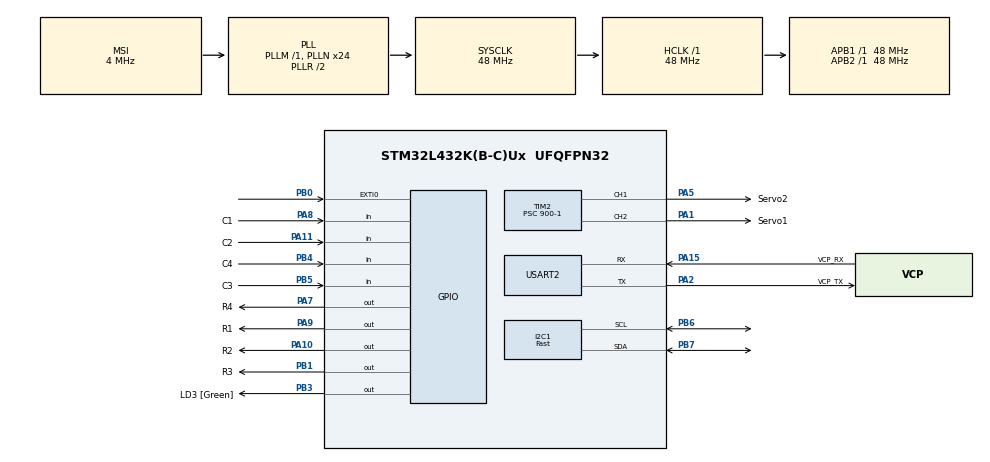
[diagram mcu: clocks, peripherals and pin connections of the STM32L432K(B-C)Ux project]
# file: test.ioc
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Dma.I2C1_RX.0.Direction=DMA_PERIPH_TO_MEMORY
Dma.I2C1_RX.0.Instance=DMA1_Channel7
Dma.I2C1_RX.0.MemDataAlignment=DMA_MDATAALIGN_BYTE
Dma.I2C1_RX.0.MemInc=DMA_MINC_ENABLE
Dma.I2C1_RX.0.Mode=DMA_NORMAL
Dma.I2C1_RX.0.PeriphDataAlignment=DMA_PDATAALIGN_BYTE
Dma.I2C1_RX.0.PeriphInc=DMA_PINC_DISABLE
Dma.I2C1_RX.0.Priority=DMA_PRIORITY_LOW
Dma.Request0=I2C1_RX
FREERTOS.Queues01=i2cQ,16,uint16_t,0,Dynamic,NULL,NULL
FREERTOS.Tasks01=defaultTask,0,128,StartDefaultTask,Default,NULL,Dynamic,NULL,NULL;keypad,-3,128,keypadTask,Default,NULL,Dynamic,NULL,NULL;i2c,-3,128,i2cTask03,Default,NULL,Dynamic,NULL,NULL
I2C1.I2C_Speed_Mode=I2C_Fast
I2C1.Timing=0x0090194B
Mcu.Family=STM32L4
Mcu.Name=STM32L432K(B-C)Ux
Mcu.Package=UFQFPN32
NVIC.DMA1_Channel7_IRQn=true\:5\:0\:false\:false\:true\:true\:false\:true\:true
NVIC.I2C1_EV_IRQn=true\:5\:0\:false\:false\:true\:true\:true\:true\:true
NVIC.PriorityGroup=NVIC_PRIORITYGROUP_4
NVIC.TIM1_UP_TIM16_IRQn=true\:15\:0\:false\:false\:true\:false\:false\:true\:true
NVIC.TimeBase=TIM1_UP_TIM16_IRQn
NVIC.TimeBaseIP=TIM1
PA0.GPIO_Label=MCO [High speed clock in]
PA0.Mode=HSE-External-Clock-Source-for-LittleOrca
PA0.Signal=RCC_CK_IN
PA1.GPIO_Label=Servo1
PA1.Signal=S_TIM2_CH2
PA10.GPIO_Label=R2
PA10.Signal=GPIO_Output
PA11.GPIO_Label=C2
PA11.GPIO_PuPd=GPIO_PULLUP
PA11.Signal=GPIO_Input
PA13\ (JTMS-SWDIO).GPIO_Label=SWDIO
PA13\ (JTMS-SWDIO).Mode=Serial_Wire
PA13\ (JTMS-SWDIO).Signal=SYS_JTMS-SWDIO
PA14\ (JTCK-SWCLK).GPIO_Label=SWCLK
PA14\ (JTCK-SWCLK).Mode=Serial_Wire
PA14\ (JTCK-SWCLK).Signal=SYS_JTCK-SWCLK
PA15\ (JTDI).GPIO_Label=VCP_RX
PA15\ (JTDI).Mode=Asynchronous
PA15\ (JTDI).Signal=USART2_RX
PA2.GPIO_Label=VCP_TX
PA2.Mode=Asynchronous
PA2.Signal=USART2_TX
PA5.GPIO_Label=Servo2
PA5.Signal=S_TIM2_CH1
PA7.GPIO_Label=R4
PA7.Signal=GPIO_Output
PA8.GPIO_Label=C1
PA8.GPIO_PuPd=GPIO_PULLUP
PA8.Signal=GPIO_Input
PA9.GPIO_Label=R1
PA9.Signal=GPIO_Output
PB0.GPIO_ModeDefaultEXTI=GPIO_MODE_IT_FALLING
PB0.Signal=GPXTI0
PB1.GPIO_Label=R3
PB1.Signal=GPIO_Output
PB3\ (JTDO-TRACESWO).GPIO_Label=LD3 [Green]
PB3\ (JTDO-TRACESWO).Signal=GPIO_Output
PB4\ (NJTRST).GPIO_Label=C4
PB4\ (NJTRST).GPIO_PuPd=GPIO_PULLUP
PB4\ (NJTRST).Signal=GPIO_Input
PB5.GPIO_Label=C3
PB5.GPIO_PuPd=GPIO_PULLUP
PB5.Signal=GPIO_Input
PB6.Mode=I2C
PB6.Signal=I2C1_SCL
PB7.Mode=I2C
PB7.Signal=I2C1_SDA
PC14-OSC32_IN\ (PC14).Mode=LSE-External-Oscillator
PC14-OSC32_IN\ (PC14).Signal=RCC_OSC32_IN
PC15-OSC32_OUT\ (PC15).Mode=LSE-External-Oscillator
PC15-OSC32_OUT\ (PC15).Signal=RCC_OSC32_OUT
ProjectManager.HeapSize=0x200
ProjectManager.StackSize=0x400
ProjectManager.TargetToolchain=STM32CubeIDE
RCC.AHBFreq_Value=48000000
RCC.APB1Freq_Value=48000000
RCC.APB1TimFreq_Value=48000000
RCC.APB2Freq_Value=48000000
RCC.APB2TimFreq_Value=48000000
RCC.CortexFreq_Value=48000000
RCC.HCLKFreq_Value=48000000
RCC.HSE_VALUE=8000000
RCC.HSI16_VALUE=16000000
RCC.HSI48_VALUE=48000000
RCC.HSI_VALUE=16000000
RCC.MSI_VALUE=4000000
RCC.PLLMUL=RCC_PLLMUL_4
RCC.PLLN=24
RCC.SYSCLKFreq_VALUE=48000000
RCC.SYSCLKSource=RCC_SYSCLKSOURCE_PLLCLK
RCC.VCOOutputFreq_Value=96000000
SH.S_TIM2_CH1.0=TIM2_CH1,PWM Generation1 CH1
SH.S_TIM2_CH2.0=TIM2_CH2,PWM Generation2 CH2
TIM2.Channel-PWM\ Generation1\ CH1=TIM_CHANNEL_1
TIM2.Channel-PWM\ Generation2\ CH2=TIM_CHANNEL_2
TIM2.Period=1000-1
TIM2.Prescaler=900-1
USART2.VirtualMode-Asynchronous=VM_ASYNC
VP_FREERTOS_VS_CMSIS_V1.Mode=CMSIS_V1
VP_SYS_VS_tim1.Mode=TIM1
VP_TIM2_VS_ClockSourceINT.Mode=Internal
board=NUCLEO-L432KC

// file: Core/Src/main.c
/* USER CODE BEGIN Header */
/**
  ******************************************************************************
  * @file           : main.c
  * @brief          : Main program body
  ******************************************************************************
  * @attention
  *
  * Copyright (c) 2025 STMicroelectronics.
  * All rights reserved.
  *
  * This software is licensed under terms that can be found in the LICENSE file
  * in the root directory of this software component.
  * If no LICENSE file comes with this software, it is provided AS-IS.
  *
  ******************************************************************************
  */
/* USER CODE END Header */
#include "main.h"
#include "cmsis_os.h"

/* USER CODE BEGIN Includes */
#include "fonts.h"
#include "ssd1306.h"
#include <stdio.h>
/* USER CODE END Includes */

I2C_HandleTypeDef hi2c1;
DMA_HandleTypeDef hdma_i2c1_rx;

TIM_HandleTypeDef htim2;

UART_HandleTypeDef huart2;

osThreadId defaultTaskHandle;
osThreadId keypadHandle;
osThreadId i2cHandle;
osMessageQId i2cQHandle;

void SystemClock_Config(void);
static void MX_GPIO_Init(void);
static void MX_DMA_Init(void);
static void MX_USART2_UART_Init(void);
static void MX_I2C1_Init(void);
static void MX_TIM2_Init(void);
void StartDefaultTask(void const * argument);
void keypadTask(void const * argument);
void i2cTask03(void const * argument);

/* USER CODE BEGIN PFP */

void servo1(int d){
	htim2.Instance->CCR2 = d;
}

void servo2(int d){
	htim2.Instance->CCR4 = d;
}

int lock_d = 25;
int unlock_d = 125;

int open_d = 25;
int close_d = 125;

int delay_open = 1000;
int delay_close = 1000;

void lock(){
	servo2(lock_d);
}

void unlock(){
	servo2(unlock_d);
}

void open(){
	unlock();
	osDelay(delay_open);
	servo1(open_d);
}

void close(){
	servo1(close_d);
	osDelay(delay_close);
	lock();
}

/* USER CODE END PFP */

/* USER CODE BEGIN 0 */
#define PUTCHAR_PROTOTYPE int __io_putchar(int ch)
PUTCHAR_PROTOTYPE
{
  /* Place your implementation of fputc here */
  /* e.g. write a character to the USART1 and Loop until the end of transmission */
  HAL_UART_Transmit(&huart2, (uint8_t *)&ch, 1, 0xFFFF);

  return ch;
}
volatile int esp32_data_ready = 0;
osMutexId i2cMutexHandle;
char password[4] = "1234";

/* USER CODE END 0 */

int main(void)
{

  /* MCU Configuration--------------------------------------------------------*/

  /* Reset of all peripherals, Initializes the Flash interface and the Systick. */
  HAL_Init();

  /* Configure the system clock */
  SystemClock_Config();

  /* Initialize all configured peripherals */
  MX_GPIO_Init();
  MX_DMA_Init();
  MX_USART2_UART_Init();
  MX_I2C1_Init();
  MX_TIM2_Init();
  /* USER CODE BEGIN 2 */

  printf("Hello \n");

  SSD1306_Init (); // initialise the display
  SSD1306_GotoXY (10,10); // goto 10, 10
  SSD1306_Puts ("HELLO", &Font_11x18, 1); // print Hello
  SSD1306_GotoXY (10, 30);
  SSD1306_Puts ("WORLD !!", &Font_11x18, 1);
  SSD1306_UpdateScreen(); // update screen

  HAL_TIM_PWM_Start(&htim2, TIM_CHANNEL_2);
  HAL_TIM_PWM_Start(&htim2, TIM_CHANNEL_4);

  /* USER CODE END 2 */

  /* USER CODE BEGIN RTOS_MUTEX */
  /* add mutexes, ... */
  osMutexDef(i2cMutex);
  i2cMutexHandle = osMutexCreate(osMutex(i2cMutex));
  /* USER CODE END RTOS_MUTEX */

  /* Create the queue(s) */
  /* definition and creation of i2cQ */
  osMessageQDef(i2cQ, 16, uint16_t);
  i2cQHandle = osMessageCreate(osMessageQ(i2cQ), NULL);

  /* Create the thread(s) */
  /* definition and creation of defaultTask */
  osThreadDef(defaultTask, StartDefaultTask, osPriorityNormal, 0, 128);
  defaultTaskHandle = osThreadCreate(osThread(defaultTask), NULL);

  /* definition and creation of keypad */
  osThreadDef(keypad, keypadTask, osPriorityIdle, 0, 128);
  keypadHandle = osThreadCreate(osThread(keypad), NULL);

  /* definition and creation of i2c */
  osThreadDef(i2c, i2cTask03, osPriorityIdle, 0, 128);
  i2cHandle = osThreadCreate(osThread(i2c), NULL);

  /* Start scheduler */
  osKernelStart();

  /* We should never get here as control is now taken by the scheduler */

  /* Infinite loop */
  /* USER CODE BEGIN WHILE */

}

/**
  * @brief System Clock Configuration
  * @retval None
  */
void SystemClock_Config(void)
{
  RCC_OscInitTypeDef RCC_OscInitStruct = {0};
  RCC_ClkInitTypeDef RCC_ClkInitStruct = {0};

  /** Configure the main internal regulator output voltage
  */
  if (HAL_PWREx_ControlVoltageScaling(PWR_REGULATOR_VOLTAGE_SCALE1) != HAL_OK)
  {
    Error_Handler();
  }

  /** Configure LSE Drive Capability
  */
  HAL_PWR_EnableBkUpAccess();
  __HAL_RCC_LSEDRIVE_CONFIG(RCC_LSEDRIVE_LOW);

  /** Initializes the RCC Oscillators according to the specified parameters
  * in the RCC_OscInitTypeDef structure.
  */
  RCC_OscInitStruct.OscillatorType = RCC_OSCILLATORTYPE_LSE|RCC_OSCILLATORTYPE_MSI;
  RCC_OscInitStruct.LSEState = RCC_LSE_ON;
  RCC_OscInitStruct.MSIState = RCC_MSI_ON;
  RCC_OscInitStruct.MSICalibrationValue = 0;
  RCC_OscInitStruct.MSIClockRange = RCC_MSIRANGE_6;
  RCC_OscInitStruct.PLL.PLLState = RCC_PLL_ON;
  RCC_OscInitStruct.PLL.PLLSource = RCC_PLLSOURCE_MSI;
  RCC_OscInitStruct.PLL.PLLM = 1;
  RCC_OscInitStruct.PLL.PLLN = 24;
  RCC_OscInitStruct.PLL.PLLP = RCC_PLLP_DIV7;
  RCC_OscInitStruct.PLL.PLLQ = RCC_PLLQ_DIV2;
  RCC_OscInitStruct.PLL.PLLR = RCC_PLLR_DIV2;
  if (HAL_RCC_OscConfig(&RCC_OscInitStruct) != HAL_OK)
  {
    Error_Handler();
  }

  /** Initializes the CPU, AHB and APB buses clocks
  */
  RCC_ClkInitStruct.ClockType = RCC_CLOCKTYPE_HCLK|RCC_CLOCKTYPE_SYSCLK
                              |RCC_CLOCKTYPE_PCLK1|RCC_CLOCKTYPE_PCLK2;
  RCC_ClkInitStruct.SYSCLKSource = RCC_SYSCLKSOURCE_PLLCLK;
  RCC_ClkInitStruct.AHBCLKDivider = RCC_SYSCLK_DIV1;
  RCC_ClkInitStruct.APB1CLKDivider = RCC_HCLK_DIV1;
  RCC_ClkInitStruct.APB2CLKDivider = RCC_HCLK_DIV1;

  if (HAL_RCC_ClockConfig(&RCC_ClkInitStruct, FLASH_LATENCY_2) != HAL_OK)
  {
    Error_Handler();
  }

  /** Enable MSI Auto calibration
  */
  HAL_RCCEx_EnableMSIPLLMode();
}

/**
  * @brief I2C1 Initialization Function
  * @param None
  * @retval None
  */
static void MX_I2C1_Init(void)
{

  /* USER CODE BEGIN I2C1_Init 0 */

  /* USER CODE END I2C1_Init 0 */

  /* USER CODE BEGIN I2C1_Init 1 */

  /* USER CODE END I2C1_Init 1 */
  hi2c1.Instance = I2C1;
  hi2c1.Init.Timing = 0x0090194B;
  hi2c1.Init.OwnAddress1 = 0;
  hi2c1.Init.AddressingMode = I2C_ADDRESSINGMODE_7BIT;
  hi2c1.Init.DualAddressMode = I2C_DUALADDRESS_DISABLE;
  hi2c1.Init.OwnAddress2 = 0;
  hi2c1.Init.OwnAddress2Masks = I2C_OA2_NOMASK;
  hi2c1.Init.GeneralCallMode = I2C_GENERALCALL_DISABLE;
  hi2c1.Init.NoStretchMode = I2C_NOSTRETCH_DISABLE;
  if (HAL_I2C_Init(&hi2c1) != HAL_OK)
  {
    Error_Handler();
  }

  /** Configure Analogue filter
  */
  if (HAL_I2CEx_ConfigAnalogFilter(&hi2c1, I2C_ANALOGFILTER_ENABLE) != HAL_OK)
  {
    Error_Handler();
  }

  /** Configure Digital filter
  */
  if (HAL_I2CEx_ConfigDigitalFilter(&hi2c1, 0) != HAL_OK)
  {
    Error_Handler();
  }
  /* USER CODE BEGIN I2C1_Init 2 */

  /* USER CODE END I2C1_Init 2 */

}

/**
  * @brief TIM2 Initialization Function
  * @param None
  * @retval None
  */
static void MX_TIM2_Init(void)
{

  /* USER CODE BEGIN TIM2_Init 0 */

  /* USER CODE END TIM2_Init 0 */

  TIM_ClockConfigTypeDef sClockSourceConfig = {0};
  TIM_MasterConfigTypeDef sMasterConfig = {0};
  TIM_OC_InitTypeDef sConfigOC = {0};

  /* USER CODE BEGIN TIM2_Init 1 */

  /* USER CODE END TIM2_Init 1 */
  htim2.Instance = TIM2;
  htim2.Init.Prescaler = 900-1;
  htim2.Init.CounterMode = TIM_COUNTERMODE_UP;
  htim2.Init.Period = 1000-1;
  htim2.Init.ClockDivision = TIM_CLOCKDIVISION_DIV1;
  htim2.Init.AutoReloadPreload = TIM_AUTORELOAD_PRELOAD_DISABLE;
  if (HAL_TIM_Base_Init(&htim2) != HAL_OK)
  {
    Error_Handler();
  }
  sClockSourceConfig.ClockSource = TIM_CLOCKSOURCE_INTERNAL;
  if (HAL_TIM_ConfigClockSource(&htim2, &sClockSourceConfig) != HAL_OK)
  {
    Error_Handler();
  }
  if (HAL_TIM_PWM_Init(&htim2) != HAL_OK)
  {
    Error_Handler();
  }
  sMasterConfig.MasterOutputTrigger = TIM_TRGO_RESET;
  sMasterConfig.MasterSlaveMode = TIM_MASTERSLAVEMODE_DISABLE;
  if (HAL_TIMEx_MasterConfigSynchronization(&htim2, &sMasterConfig) != HAL_OK)
  {
    Error_Handler();
  }
  sConfigOC.OCMode = TIM_OCMODE_PWM1;
  sConfigOC.Pulse = 0;
  sConfigOC.OCPolarity = TIM_OCPOLARITY_HIGH;
  sConfigOC.OCFastMode = TIM_OCFAST_DISABLE;
  if (HAL_TIM_PWM_ConfigChannel(&htim2, &sConfigOC, TIM_CHANNEL_4) != HAL_OK)
  {
    Error_Handler();
  }
  if (HAL_TIM_PWM_ConfigChannel(&htim2, &sConfigOC, TIM_CHANNEL_2) != HAL_OK)
  {
    Error_Handler();
  }
  /* USER CODE BEGIN TIM2_Init 2 */

  /* USER CODE END TIM2_Init 2 */
  HAL_TIM_MspPostInit(&htim2);

}

/**
  * @brief USART2 Initialization Function
  * @param None
  * @retval None
  */
static void MX_USART2_UART_Init(void)
{

  /* USER CODE BEGIN USART2_Init 0 */

  /* USER CODE END USART2_Init 0 */

  /* USER CODE BEGIN USART2_Init 1 */

  /* USER CODE END USART2_Init 1 */
  huart2.Instance = USART2;
  huart2.Init.BaudRate = 115200;
  huart2.Init.WordLength = UART_WORDLENGTH_8B;
  huart2.Init.StopBits = UART_STOPBITS_1;
  huart2.Init.Parity = UART_PARITY_NONE;
  huart2.Init.Mode = UART_MODE_TX_RX;
  huart2.Init.HwFlowCtl = UART_HWCONTROL_NONE;
  huart2.Init.OverSampling = UART_OVERSAMPLING_16;
  huart2.Init.OneBitSampling = UART_ONE_BIT_SAMPLE_DISABLE;
  huart2.AdvancedInit.AdvFeatureInit = UART_ADVFEATURE_NO_INIT;
  if (HAL_UART_Init(&huart2) != HAL_OK)
  {
    Error_Handler();
  }
  /* USER CODE BEGIN USART2_Init 2 */

  /* USER CODE END USART2_Init 2 */

}

/**
  * Enable DMA controller clock
  */
static void MX_DMA_Init(void)
{

  /* DMA controller clock enable */
  __HAL_RCC_DMA1_CLK_ENABLE();

  /* DMA interrupt init */
  /* DMA1_Channel7_IRQn interrupt configuration */
  HAL_NVIC_SetPriority(DMA1_Channel7_IRQn, 5, 0);
  HAL_NVIC_EnableIRQ(DMA1_Channel7_IRQn);

}

/**
  * @brief GPIO Initialization Function
  * @param None
  * @retval None
  */
static void MX_GPIO_Init(void)
{
  GPIO_InitTypeDef GPIO_InitStruct = {0};
  /* USER CODE BEGIN MX_GPIO_Init_1 */

  /* USER CODE END MX_GPIO_Init_1 */

  /* GPIO Ports Clock Enable */
  __HAL_RCC_GPIOC_CLK_ENABLE();
  __HAL_RCC_GPIOA_CLK_ENABLE();
  __HAL_RCC_GPIOB_CLK_ENABLE();

  /*Configure GPIO pin Output Level */
  HAL_GPIO_WritePin(GPIOA, R4_Pin|R1_Pin|R2_Pin, GPIO_PIN_RESET);

  /*Configure GPIO pin Output Level */
  HAL_GPIO_WritePin(GPIOB, R3_Pin|LD3_Pin, GPIO_PIN_RESET);

  /*Configure GPIO pins : R4_Pin R1_Pin R2_Pin */
  GPIO_InitStruct.Pin = R4_Pin|R1_Pin|R2_Pin;
  GPIO_InitStruct.Mode = GPIO_MODE_OUTPUT_PP;
  GPIO_InitStruct.Pull = GPIO_NOPULL;
  GPIO_InitStruct.Speed = GPIO_SPEED_FREQ_LOW;
  HAL_GPIO_Init(GPIOA, &GPIO_InitStruct);

  /*Configure GPIO pin : PB0 */
  GPIO_InitStruct.Pin = GPIO_PIN_0;
  GPIO_InitStruct.Mode = GPIO_MODE_IT_FALLING;
  GPIO_InitStruct.Pull = GPIO_NOPULL;
  HAL_GPIO_Init(GPIOB, &GPIO_InitStruct);

  /*Configure GPIO pins : R3_Pin LD3_Pin */
  GPIO_InitStruct.Pin = R3_Pin|LD3_Pin;
  GPIO_InitStruct.Mode = GPIO_MODE_OUTPUT_PP;
  GPIO_InitStruct.Pull = GPIO_NOPULL;
  GPIO_InitStruct.Speed = GPIO_SPEED_FREQ_LOW;
  HAL_GPIO_Init(GPIOB, &GPIO_InitStruct);

  /*Configure GPIO pins : C1_Pin C2_Pin */
  GPIO_InitStruct.Pin = C1_Pin|C2_Pin;
  GPIO_InitStruct.Mode = GPIO_MODE_INPUT;
  GPIO_InitStruct.Pull = GPIO_PULLUP;
  HAL_GPIO_Init(GPIOA, &GPIO_InitStruct);

  /*Configure GPIO pins : C4_Pin C3_Pin */
  GPIO_InitStruct.Pin = C4_Pin|C3_Pin;
  GPIO_InitStruct.Mode = GPIO_MODE_INPUT;
  GPIO_InitStruct.Pull = GPIO_PULLUP;
  HAL_GPIO_Init(GPIOB, &GPIO_InitStruct);

  /* USER CODE BEGIN MX_GPIO_Init_2 */
  HAL_NVIC_SetPriority(EXTI0_IRQn, 0, 0);
  HAL_NVIC_EnableIRQ(EXTI0_IRQn);
  /* USER CODE END MX_GPIO_Init_2 */
}

/* USER CODE BEGIN 4 */

/* USER CODE END 4 */

/* USER CODE BEGIN Header_StartDefaultTask */
/**
  * @brief  Function implementing the defaultTask thread.
  * @param  argument: Not used
  * @retval None
  */
/* USER CODE END Header_StartDefaultTask */
void StartDefaultTask(void const * argument)
{
  /* USER CODE BEGIN 5 */
  /* Infinite loop */
  for(;;)
  {
    osDelay(1);
  }
  /* USER CODE END 5 */
}

/* USER CODE BEGIN Header_keypadTask */
/**
* @brief Function implementing the keypad thread.
* @param argument: Not used
* @retval None
*/
char read_keypad(void)
{
    // --- Scan Row 1 ---
    HAL_GPIO_WritePin(R1_GPIO_Port, R1_Pin, GPIO_PIN_RESET);  // Set Row 1 low
    HAL_GPIO_WritePin(R2_GPIO_Port, R2_Pin, GPIO_PIN_SET);      // Set Row 2 high
    HAL_GPIO_WritePin(R3_GPIO_Port, R3_Pin, GPIO_PIN_SET);      // Set Row 3 high
    HAL_GPIO_WritePin(R4_GPIO_Port, R4_Pin, GPIO_PIN_SET);      // Set Row 4 high

    if(HAL_GPIO_ReadPin(C1_GPIO_Port, C1_Pin) == GPIO_PIN_RESET)
    {
        while(HAL_GPIO_ReadPin(C1_GPIO_Port, C1_Pin) == GPIO_PIN_RESET);
        return '1';
    }
    if(HAL_GPIO_ReadPin(C2_GPIO_Port, C2_Pin) == GPIO_PIN_RESET)
    {
        while(HAL_GPIO_ReadPin(C2_GPIO_Port, C2_Pin) == GPIO_PIN_RESET);
        return '2';
    }
    if(HAL_GPIO_ReadPin(C3_GPIO_Port, C3_Pin) == GPIO_PIN_RESET)
    {
        while(HAL_GPIO_ReadPin(C3_GPIO_Port, C3_Pin) == GPIO_PIN_RESET);
        return '3';
    }
    if(HAL_GPIO_ReadPin(C4_GPIO_Port, C4_Pin) == GPIO_PIN_RESET)
    {
        while(HAL_GPIO_ReadPin(C4_GPIO_Port, C4_Pin) == GPIO_PIN_RESET);
        return 'A';
    }

    // --- Scan Row 2 ---
    HAL_GPIO_WritePin(R1_GPIO_Port, R1_Pin, GPIO_PIN_SET);
    HAL_GPIO_WritePin(R2_GPIO_Port, R2_Pin, GPIO_PIN_RESET);  // Set Row 2 low
    HAL_GPIO_WritePin(R3_GPIO_Port, R3_Pin, GPIO_PIN_SET);
    HAL_GPIO_WritePin(R4_GPIO_Port, R4_Pin, GPIO_PIN_SET);

    if(HAL_GPIO_ReadPin(C1_GPIO_Port, C1_Pin) == GPIO_PIN_RESET)
    {
        while(HAL_GPIO_ReadPin(C1_GPIO_Port, C1_Pin) == GPIO_PIN_RESET);
        return '4';
    }
    if(HAL_GPIO_ReadPin(C2_GPIO_Port, C2_Pin) == GPIO_PIN_RESET)
    {
        while(HAL_GPIO_ReadPin(C2_GPIO_Port, C2_Pin) == GPIO_PIN_RESET);
        return '5';
    }
    if(HAL_GPIO_ReadPin(C3_GPIO_Port, C3_Pin) == GPIO_PIN_RESET)
    {
        while(HAL_GPIO_ReadPin(C3_GPIO_Port, C3_Pin) == GPIO_PIN_RESET);
        return '6';
    }
    if(HAL_GPIO_ReadPin(C4_GPIO_Port, C4_Pin) == GPIO_PIN_RESET)
    {
        while(HAL_GPIO_ReadPin(C4_GPIO_Port, C4_Pin) == GPIO_PIN_RESET);
        return 'B';
    }

    // --- Scan Row 3 ---
    HAL_GPIO_WritePin(R1_GPIO_Port, R1_Pin, GPIO_PIN_SET);
    HAL_GPIO_WritePin(R2_GPIO_Port, R2_Pin, GPIO_PIN_SET);
    HAL_GPIO_WritePin(R3_GPIO_Port, R3_Pin, GPIO_PIN_RESET);  // Set Row 3 low
    HAL_GPIO_WritePin(R4_GPIO_Port, R4_Pin, GPIO_PIN_SET);

    if(HAL_GPIO_ReadPin(C1_GPIO_Port, C1_Pin) == GPIO_PIN_RESET)
    {
        while(HAL_GPIO_ReadPin(C1_GPIO_Port, C1_Pin) == GPIO_PIN_RESET);
        return '7';
    }
    if(HAL_GPIO_ReadPin(C2_GPIO_Port, C2_Pin) == GPIO_PIN_RESET)
    {
        while(HAL_GPIO_ReadPin(C2_GPIO_Port, C2_Pin) == GPIO_PIN_RESET);
        return '8';
    }
    if(HAL_GPIO_ReadPin(C3_GPIO_Port, C3_Pin) == GPIO_PIN_RESET)
    {
        while(HAL_GPIO_ReadPin(C3_GPIO_Port, C3_Pin) == GPIO_PIN_RESET);
        return '9';
    }
    if(HAL_GPIO_ReadPin(C4_GPIO_Port, C4_Pin) == GPIO_PIN_RESET)
    {
        while(HAL_GPIO_ReadPin(C4_GPIO_Port, C4_Pin) == GPIO_PIN_RESET);
        return 'C';
    }

    // --- Scan Row 4 ---
    HAL_GPIO_WritePin(R1_GPIO_Port, R1_Pin, GPIO_PIN_SET);
    HAL_GPIO_WritePin(R2_GPIO_Port, R2_Pin, GPIO_PIN_SET);
    HAL_GPIO_WritePin(R3_GPIO_Port, R3_Pin, GPIO_PIN_SET);
    HAL_GPIO_WritePin(R4_GPIO_Port, R4_Pin, GPIO_PIN_RESET);  // Set Row 4 low

    if(HAL_GPIO_ReadPin(C1_GPIO_Port, C1_Pin) == GPIO_PIN_RESET)
    {
        while(HAL_GPIO_ReadPin(C1_GPIO_Port, C1_Pin) == GPIO_PIN_RESET);
        return '*';
    }
    if(HAL_GPIO_ReadPin(C2_GPIO_Port, C2_Pin) == GPIO_PIN_RESET)
    {
        while(HAL_GPIO_ReadPin(C2_GPIO_Port, C2_Pin) == GPIO_PIN_RESET);
        return '0';
    }
    if(HAL_GPIO_ReadPin(C3_GPIO_Port, C3_Pin) == GPIO_PIN_RESET)
    {
        while(HAL_GPIO_ReadPin(C3_GPIO_Port, C3_Pin) == GPIO_PIN_RESET);
        return '#';
    }
    if(HAL_GPIO_ReadPin(C4_GPIO_Port, C4_Pin) == GPIO_PIN_RESET)
    {
        while(HAL_GPIO_ReadPin(C4_GPIO_Port, C4_Pin) == GPIO_PIN_RESET);
        return 'D';
    }

    // If no key is pressed, return null character.
    return '\0';
}

/* USER CODE END Header_keypadTask */
void keypadTask(void const * argument)
{
  /* USER CODE BEGIN keypadTask */
	char key;
	  // Buffer to hold up to 4-digit PIN plus null terminator.
	  static char pin[5] = "";
	  // Index for current position in the PIN buffer.
	  static uint8_t pin_index = 0;

	  for(;;)
	  {
	    key = read_keypad();  // Scan the keypad
	    if(key != '\0')
	    {
	      // If a numeric key (0-9) is pressed, append it if there is space.
	      if(key >= '0' && key <= '9')
	      {
	        if(pin_index < 4)
	        {
	          pin[pin_index++] = key;
	          pin[pin_index] = '\0';
	        }
	      }
	      // If '*' is pressed, clear the current PIN entry.
	      else if(key == '*')
	      {
	        pin_index = 0;
	        pin[0] = '\0';
	      }
	      // If '#' is pressed, assume it's a submit.
	      // (For example, check if the PIN is correct, then clear the buffer.)
	      else if(key == '#')
	      {
	        // Example PIN check (replace "1234" with your desired PIN)
          if (osMutexWait(i2cMutexHandle, osWaitForever) == osOK)
          {
            SSD1306_Clear();
            SSD1306_GotoXY(0, 0);
            if(strcmp(pin, password) == 0)
            {
              SSD1306_Puts("PIN OK", &Font_11x18, 1);
            }
            else
            {
              SSD1306_Puts("PIN ERR", &Font_11x18, 1);
            }
            SSD1306_UpdateScreen();
            osMutexRelease(i2cMutexHandle);
          }
	        osDelay(1000);  // Show the result for a second

	        // Clear the PIN buffer after submission.
	        pin_index = 0;
	        pin[0] = '\0';
	      }
	      else if(key == 'A'){
	    	  open();
	      }
	      else if(key == 'B'){
	      	  close();
	      }

	      // After any key action update the display with the masked PIN.
        if (osMutexWait(i2cMutexHandle, osWaitForever) == osOK)
        {
          SSD1306_Clear();
          SSD1306_GotoXY(0, 0);
          SSD1306_Puts("PIN: ", &Font_11x18, 1);
          // Print an asterisk for each digit entered.
          for(uint8_t i = 0; i < pin_index; i++)
          {
            SSD1306_Puts("x", &Font_11x18, 1);
          }
          SSD1306_UpdateScreen();
          osMutexRelease(i2cMutexHandle);
        }

	      // (Optional) Debug print to UART.
	      printf("Key pressed: %c, current PIN: %s\r\n", key, pin);
	    }
	    osDelay(50); // Delay to help with debouncing and reduce CPU load.
	  }
  /* USER CODE END keypadTask */
}

/* USER CODE BEGIN Header_i2cTask03 */
/**
* @brief Function implementing the i2c thread.
* @param argument: Not used
* @retval None
*/
/* USER CODE END Header_i2cTask03 */
void i2cTask03(void const * argument)
{
  /* USER CODE BEGIN i2cTask03 */
  /* Infinite loop */
  for(;;)
  {
	      /* USER CODE END WHILE */

	      /* USER CODE BEGIN 3 */
	      if (esp32_data_ready)
	  	      {
	  	          esp32_data_ready = 0;
	  	          // do the read
	  	          SlaveDataReady_Callback();
	  	      }
	    /* USER CODE END 3 */
    osDelay(50);
  }
  /* USER CODE END i2cTask03 */
}

void HAL_TIM_PeriodElapsedCallback(TIM_HandleTypeDef *htim)
{
  if (htim->Instance == TIM1)
  {
    HAL_IncTick();
  }
}

void Error_Handler(void)
{
  __disable_irq();
  while (1)
  {
  }
}
extern I2C_HandleTypeDef hi2c1;

#define SLAVE1_ADDR_7BIT   0x60
#define SLAVE1_ADDR_8BIT   (SLAVE1_ADDR_7BIT << 1)
#define SLAVE2_ADDR_7BIT   0x60
#define SLAVE2_ADDR_8BIT   (SLAVE2_ADDR_7BIT << 1)

void SlaveDataReady_Callback(void)
{
    // Master reads 2 bytes from the slave, for example
    uint8_t rxBuffer[8] = {0};
    if (osMutexWait(i2cMutexHandle, osWaitForever) == osOK)
    {
      if (HAL_I2C_Master_Receive(&hi2c1, SLAVE1_ADDR_8BIT, rxBuffer, 8, 100) == HAL_OK)
      {
          printf("Received from ESP32 1:");
          for(int i=0; i<8; i++){
            printf("0x%02X ", rxBuffer[i]);
          }
          printf("\n");

          char topic = rxBuffer[0];
          uint32_t value = ((uint32_t)rxBuffer[4] << 24) |
                           ((uint32_t)rxBuffer[3] << 16) |
                           ((uint32_t)rxBuffer[2] <<  8) |
                           ((uint32_t)rxBuffer[1]      );
          if(topic == 'o'){
        	  open();
          }
          if(topic == 'c'){
        	  close();
          }
          if(topic == 'p'){
        	  char snum[4];
        	  itoa(value, snum, 10);
        	  for(int i=0; i<4; i++){
        		  password[i] = snum[i];
        	  }
          }
          if(topic == '1'){
            lock_d = value;
          }
          if(topic == '2'){
        	unlock_d = value;
          }
          if(topic == '3'){
        	  open_d = value;
          }
          if(topic == '4'){
        	  close_d = value;
          }
          if(topic == '5'){
        	  delay_open = value;
          }
          if(topic == '6'){
        	  delay_close = value;
          }

//          int lock_d = 25;
//          int unlock_d = 125;
//
//          int open_d = 25;
//          int close_d = 125;
//
//          int delay_open = 1000;
//          int delay_close = 1000;

      }
      else
      {
          printf("I2C read error ESP 1\n");
      }
      osMutexRelease(i2cMutexHandle);
    }
}
